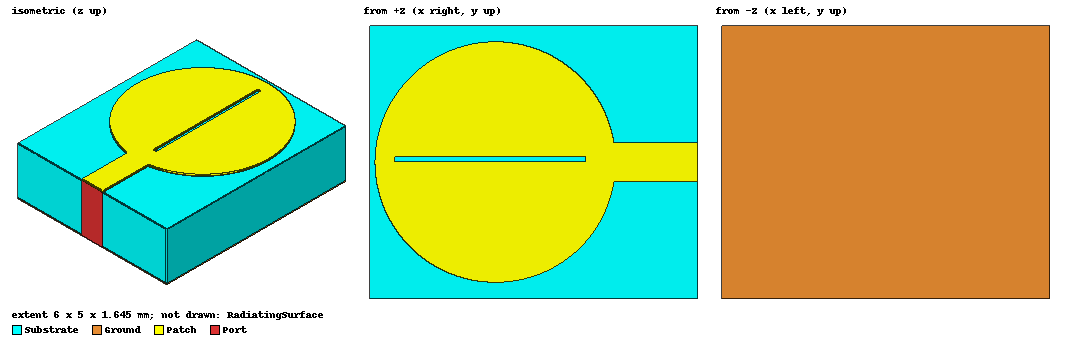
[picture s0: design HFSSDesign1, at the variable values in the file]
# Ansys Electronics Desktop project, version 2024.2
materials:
  vacuum: permittivity=1
  copper: permeability=0.999991 conductivity=58000000
  Rogers RT/duroid 5880 (tm): permittivity=2.2 dielectric_loss_tangent=0.0009
  PET: permittivity=3.6

design HFSSDesign1 (HFSS, HFSS Terminal Network, model units mm)
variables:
  Lg = 6mm
  W = 5mm
  Wg = 4
  Hp = 0.035mm
  Hs = 1.575mm
  a = 0.3mm
  Rp = 2.2mm
  Wf = 0.7mm
  Lf = 1.65mm
  WS = 0.1mm
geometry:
  Ground [copper] = box(corner=(0mm, 0mm, 0mm), size=(Lg, W, Hp))
  Substrate [Rogers RT/duroid 5880 (tm)] = box(corner=(0mm, 0mm, Hp), size=(Lg, W, Hs))
  Patch [copper] = cylinder(axis=Z, base_centre=(a+Rp, W/2, Hp+Hs), radius=Rp, height=Hp)
  Feedline = box(corner=(a/2+2*Rp, W/2-Wf/2, Hp+Hs), size=(Lf, Wf, Hp))
  Patch.unite(Feedline)
  Port = rectangle(corner=(Lg, W/2-Wf/2, Hp+Hs), y_size=Wf, z_size=-(Hp+Hs))
  RadiatingSurface [vacuum] = region(absolute_offset=3.5714286mm on all sides)
  Patch.move(-0.2mm, 0mm, 0mm)
  Patch.move(0.4mm, 0mm, 0mm)
  Patch.move(-0.4mm, 0mm, 0mm)
  Patch.move(0.8mm, 0mm, 0mm)
  Patch.move(0.4mm, 0mm, 0mm)
  Patch.move(-0.4mm, 0mm, 0mm)
  Patch.move(-0.8mm, 0mm, 0mm)
  Slot_1 = box(corner=(0.5mm, 2mm, 0mm), size=(3.5mm, WS, 2.5mm))
  Slot_1.move(-0.05mm, 0.5mm, 0.1mm)
  Patch.subtract(Slot_1)
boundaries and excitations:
  Open1: Radiation Objects=RadiatingSurface
  Port_T1: Terminal port=1 Edges=Patch.edge(at (6, 2.5, 1.61)) TerminalResistance=50ohm
  1: Lumped Port Faces=Port.face LumpedPortType=Terminal Impedance=50ohm
  reference conductors: Ground
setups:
  Setup1: HfssDriven Frequency=28GHz MaxDeltaS=0.02 MaximumPasses=12 MinimumPasses=1 MinimumConvergedPasses=1 PercentRefinement=30 BasisOrder=1 PortAccuracy=2 DrivenSolverType="Direct Solver"
    sweep Sweep: 14GHz to 50GHz, 401 points; Type=Fast SaveFields
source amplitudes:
  1:1: 1 0deg
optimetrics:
  ParametricSetup1: Parametric Sim._Setups=[Setup1]
    sweep WS: LIN 0.1mm 0.9mm 0.1mm
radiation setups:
  3D: Infinite Sphere Theta=0deg..180deg step 2deg Phi=-180deg..180deg step 2deg
  Elevation: Infinite Sphere Theta=-180deg..180deg step 1deg Phi=0deg..90deg step 90deg
  Azimuth: Infinite Sphere Theta=90deg..90deg step 0deg Phi=-180deg..180deg step 1deg
  Infinite Sphere1: Infinite Sphere Theta=0deg..0deg step 0deg Phi=0deg..0deg step 0deg
